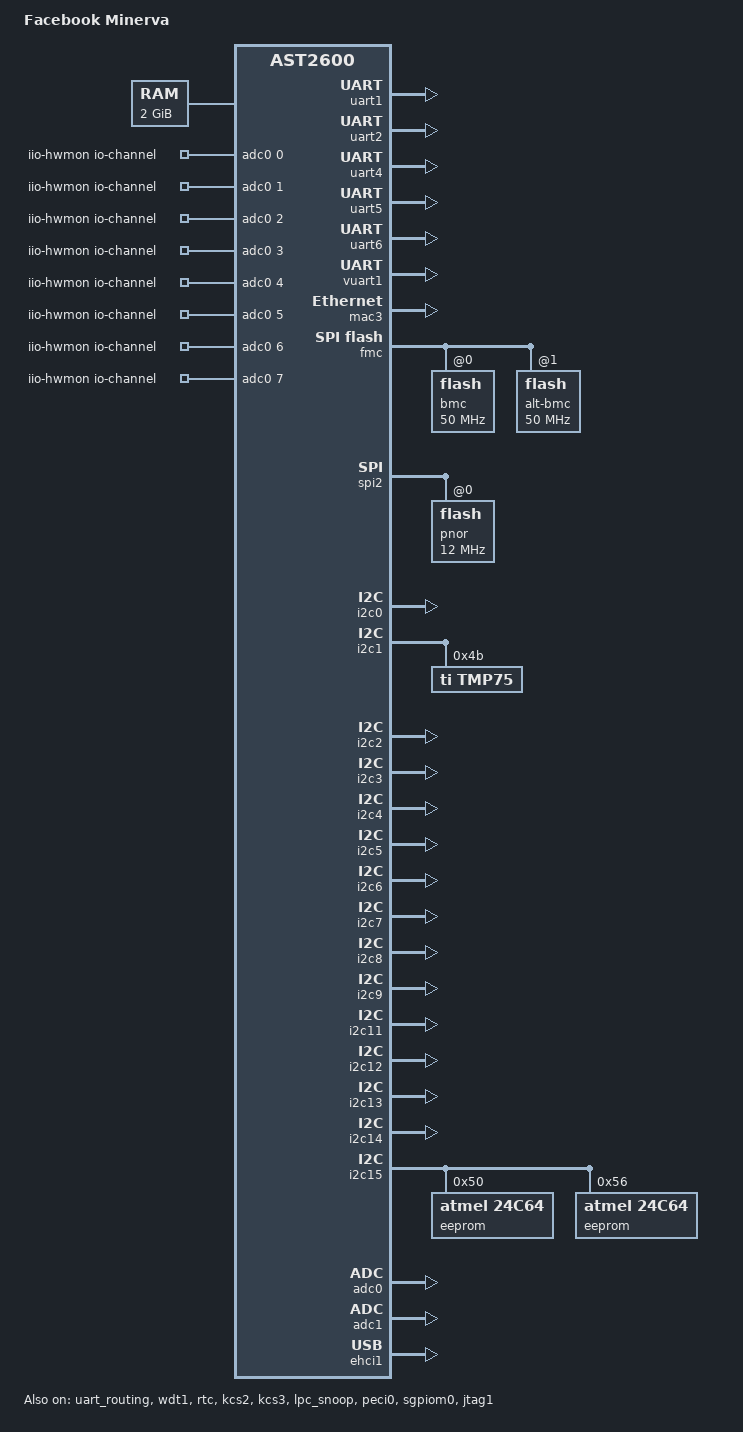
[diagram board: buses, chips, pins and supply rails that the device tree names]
// SPDX-License-Identifier: GPL-2.0+
// Copyright (c) 2023 Facebook Inc.
/dts-v1/;

#include "aspeed-g6.dtsi"
#include <dt-bindings/gpio/aspeed-gpio.h>

/ {
	model = "Facebook Minerva";
	compatible = "facebook, minerva-bmc", "aspeed,ast2600";

	aliases {
		serial0 = &uart1;
		serial4 = &uart5;
	};

	chosen {
		bootargs = "console=ttyS4,57600n8";
	};

	memory@80000000 {
		device_type = "memory";
		reg = <0x80000000 0x80000000>;
	};

	iio-hwmon {
		compatible = "iio-hwmon";
		io-channels = <&adc0 0>, <&adc0 1>, <&adc0 2>, <&adc0 3>,
			<&adc0 4>, <&adc0 5>, <&adc0 6>, <&adc0 7>,
			<&adc1 2>;
	};

};

// HOST BIOS Debug
&uart1 {
	status = "okay";
};


// SOL Host Console
&uart2 {
	status = "okay";
	pinctrl-0 = <>;

};

// SOL BMC Console
&uart4 {
	status = "okay";
	pinctrl-0 = <>;
};

// BMC Debug Console
&uart5 {
	status = "okay";
};

//MTIA
&uart6 {
	status = "okay";
};

&uart_routing {
	status = "okay";
};

&vuart1 {
	status = "okay";
	virtual;
	port=<0x3e8>;
	sirq = <7>;
	sirq-polarity = <0>;
	dma-mode;
	dma-channel = <12>;
};

&wdt1 {
	status = "okay";
	pinctrl-names = "default";
	pinctrl-0 = <&pinctrl_wdtrst1_default>;
	aspeed,reset-type = "soc";
	aspeed,external-signal;
	aspeed,ext-push-pull;
	aspeed,ext-active-high;
	aspeed,ext-pulse-duration = <256>;
};


&mac3 {
	status = "okay";

	pinctrl-names = "default";
	pinctrl-0 = <&pinctrl_rmii4_default>;
	no-hw-checksum;
	use-ncsi;
	ncsi-ctrl,start-redo-probe;
	ncsi-ctrl,no-channel-monitor;
	mlx,multi-host;
	ncsi-package = <1>;
	ncsi-channel = <1>;
	ncsi-rexmit = <1>;
	ncsi-timeout = <2>;
};

&rtc {
	status = "okay";
};

&fmc {
	status = "okay";
	flash@0 {
		status = "okay";
		m25p,fast-read;
		label = "bmc";
		spi-max-frequency = <50000000>;
#include "openbmc-flash-layout-128.dtsi"
	};
	flash@1 {
		status = "okay";
		m25p,fast-read;
		label = "alt-bmc";
		spi-max-frequency = <50000000>;
	};
};


//BIOS Flash
&spi2 {
	status = "okay";
	pinctrl-names = "default";
	pinctrl-0 = <&pinctrl_spi2_default>;

	flash@0 {
		status = "okay";
		m25p,fast-read;
		label = "pnor";
		spi-max-frequency = <12000000>;
		spi-tx-bus-width = <2>;
		spi-rx-bus-width = <2>;
	};
};


&kcs2 {
	status = "okay";
	aspeed,lpc-io-reg = <0xca8>;
};

&kcs3 {
	status = "okay";
	aspeed,lpc-io-reg = <0xca2>;
};


&lpc_snoop {
	status = "okay";
	snoop-ports = <0x80>;
};

&peci0 {
	status = "okay";
	clock-frequency = <1000000>;
};

&sgpiom0 {
	status = "okay";
	max-ngpios = <128>;
	ngpios = <128>;
	bus-frequency = <2000000>;
	gpio-line-names =
	/*in - out - in - out */
	/*A0-A7*/   "","","","","","enable_sensors","","",
	/*A0-A7*/   "","","","","","","","",
	/*B0-B7*/   "","","","","","","","",
	/*B0-B7*/   "","","","","","","","",
	/*C0-C7*/   "","","","","","","","",
	/*C0-C7*/   "","","","","","","","",
	/*D0-D7*/   "","","","","","","","",
	/*D0-D7*/   "","","","","","","","",
	/*E0-E7*/   "","","","","","","","",
	/*E0-E7*/   "","","","","","","","",
	/*F0-F7*/   "","","","","","","","",
	/*F0-F7*/   "","","","","","","","",
	/*G0-G7*/   "","","","","","","","",
	/*G0-G7*/   "","","","","","","","",
	/*H0-H7*/   "","","","","","","","",
	/*H0-H7*/   "","","","","","","","";
};

&i2c0 {
	status = "okay";
};

&i2c1 {
	status = "okay";
	tmp75@4B {
		compatible = "ti,tmp75";
		reg = <0x4B>;
	};
};

&i2c2 {
	status = "okay";
};

&i2c3 {
	status = "okay";
};

&i2c4 {
	status = "okay";
};

&i2c5 {
	status = "okay";
};

&i2c6 {
	status = "okay";
};

&i2c7 {
	status = "okay";
};

&i2c8 {
	status = "okay";
};

&i2c9 {
	status = "okay";
};

&i2c11 {
	status = "okay";
};

&i2c12 {
	status = "okay";
};

&i2c13 {
	status = "okay";
};

// To Debug card
&i2c14 {
	status = "okay";
	multi-master;
	aspeed,hw-timeout-ms = <1000>;
};

&i2c15 {
	status = "okay";
	// SCM FRU
	eeprom@50 {
		compatible = "atmel,24c64";
		reg = <0x50>;
	};
	// BSM FRU
	eeprom@56 {
		compatible = "atmel,24c64";
		reg = <0x56>;
	};

};

&adc0 {
	ref_voltage = <2500>;
	status = "okay";

	pinctrl-0 = <&pinctrl_adc0_default &pinctrl_adc1_default
		&pinctrl_adc2_default &pinctrl_adc3_default
		&pinctrl_adc4_default &pinctrl_adc5_default
		&pinctrl_adc6_default &pinctrl_adc7_default>;
};

&adc1 {
	ref_voltage = <2500>;
	status = "okay";

	pinctrl-names = "default";
	pinctrl-0 = <&pinctrl_adc10_default>;
};

&jtag1 {
	status = "okay";
	pinctrl-names = "default";
	pinctrl-0 = <&pinctrl_jtagm_default>;
};

&ehci1 {
	status = "okay";
};

&gpio0 {
	pinctrl-names = "default";
	gpio-line-names =
	/*A0-A7*/	"","","","","","","","",
	/*B0-B7*/	"","","","","","","","",
	/*C0-C7*/	"","","","","","","","",
	/*D0-D7*/	"","","SOL_UART_SET","","","","","",
	/*E0-E7*/	"","","","","","","","",
	/*F0-F7*/	"","","","","","","","",
	/*G0-G7*/	"","","","","","","","",
	/*H0-H7*/	"","","","","","","","",
	/*I0-I7*/	"","","","","","","","",
	/*J0-J7*/	"","","","","","","","",
	/*K0-K7*/	"","","","","","","","",
	/*L0-L7*/	"","","","","","","","",
	/*M0-M7*/	"","","","","","","","",
	/*N0-N7*/	"LED_POSTCODE_0","LED_POSTCODE_1",
			"LED_POSTCODE_2","LED_POSTCODE_3",
			"LED_POSTCODE_4","LED_POSTCODE_5",
			"LED_POSTCODE_6","LED_POSTCODE_7",
	/*O0-O7*/	"","","","","","","","",
	/*P0-P7*/	"","","","","","","","",
	/*Q0-Q7*/	"","","","","","","","",
	/*R0-R7*/	"","","","","","","","",
	/*S0-S7*/	"","","","","","","","",
	/*T0-T7*/	"","","","","","","","",
	/*U0-U7*/	"","","","","","","","",
	/*V0-V7*/	"","","","","","","","",
	/*W0-W7*/	"","","","","","","","",
	/*X0-X7*/	"","","","","","","","",
	/*Y0-Y7*/	"","","","","","","","",
	/*Z0-Z7*/	"","","","","","","","";
};

